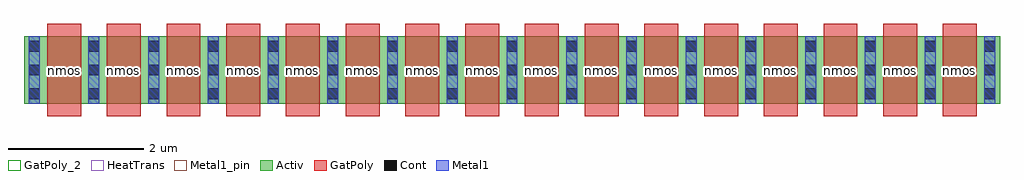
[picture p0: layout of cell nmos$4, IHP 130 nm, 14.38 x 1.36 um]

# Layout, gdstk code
import gdstk
lib = gdstk.Library(unit=1e-6, precision=1e-09)
def R(c, l, rs):  # rectangles x0, y0, x1, y1
    for r in rs: c.add(gdstk.rectangle(r[:2], r[2:], *l))
def A(c, l, x, y, w, h, nx, ny, dx, dy):  # array of equal rectangles
    R(c, l, [(x+i*dx, y+j*dy, x+i*dx+w, y+j*dy+h) for i in range(nx) for j in range(ny)])
Activ = (1, 0)
GatPoly = (5, 0)
GatPoly_2 = (5, 2)
Cont = (6, 0)
Metal1 = (8, 0)
Metal1_pin = (8, 2)
HeatTrans = (51, 0)

nmos_4 = lib.new_cell('nmos$4')
A(nmos_4, Activ, 0, 0, 0.3, 0.3, 17, 1, 0.88, 0)
R(nmos_4, Activ, [(0,0,14.38,1)])
A(nmos_4, GatPoly, 0.34, -0.18, 0.5, 1.36, 16, 1, 0.88, 0)
R(nmos_4, GatPoly_2, [(0.34,-0.18,0.84,1.18)])
A(nmos_4, Cont, 0.07, 0.07, 0.16, 0.16, 17, 3, 0.88, 0.35)
A(nmos_4, Metal1, 0.07, 0, 0.16, 1, 17, 1, 0.88, 0)
R(nmos_4, Metal1_pin, [(0.07,0,0.23,1), (0.95,0,1.11,1)])
A(nmos_4, HeatTrans, 0.34, -0.18, 0.5, 1.36, 16, 1, 0.88, 0)
nmos_4.add(gdstk.Label('nmos', (0.59,0.5), layer=63, texttype=0))
nmos_4.add(gdstk.Label('nmos', (0.59,0.5), layer=51, texttype=0))
nmos_4.add(gdstk.Label('nmos', (1.47,0.5), layer=51, texttype=0))
nmos_4.add(gdstk.Label('nmos', (2.35,0.5), layer=51, texttype=0))
nmos_4.add(gdstk.Label('nmos', (3.23,0.5), layer=51, texttype=0))
nmos_4.add(gdstk.Label('nmos', (4.11,0.5), layer=51, texttype=0))
nmos_4.add(gdstk.Label('nmos', (4.99,0.5), layer=51, texttype=0))
nmos_4.add(gdstk.Label('nmos', (5.87,0.5), layer=51, texttype=0))
nmos_4.add(gdstk.Label('nmos', (6.75,0.5), layer=51, texttype=0))
nmos_4.add(gdstk.Label('nmos', (7.63,0.5), layer=51, texttype=0))
nmos_4.add(gdstk.Label('nmos', (8.51,0.5), layer=51, texttype=0))
nmos_4.add(gdstk.Label('nmos', (9.39,0.5), layer=51, texttype=0))
nmos_4.add(gdstk.Label('nmos', (10.27,0.5), layer=51, texttype=0))
nmos_4.add(gdstk.Label('nmos', (11.15,0.5), layer=51, texttype=0))
nmos_4.add(gdstk.Label('nmos', (12.03,0.5), layer=51, texttype=0))
nmos_4.add(gdstk.Label('nmos', (12.91,0.5), layer=51, texttype=0))
nmos_4.add(gdstk.Label('nmos', (13.79,0.5), layer=51, texttype=0))

lib.write_gds('nmos_4.gds')
